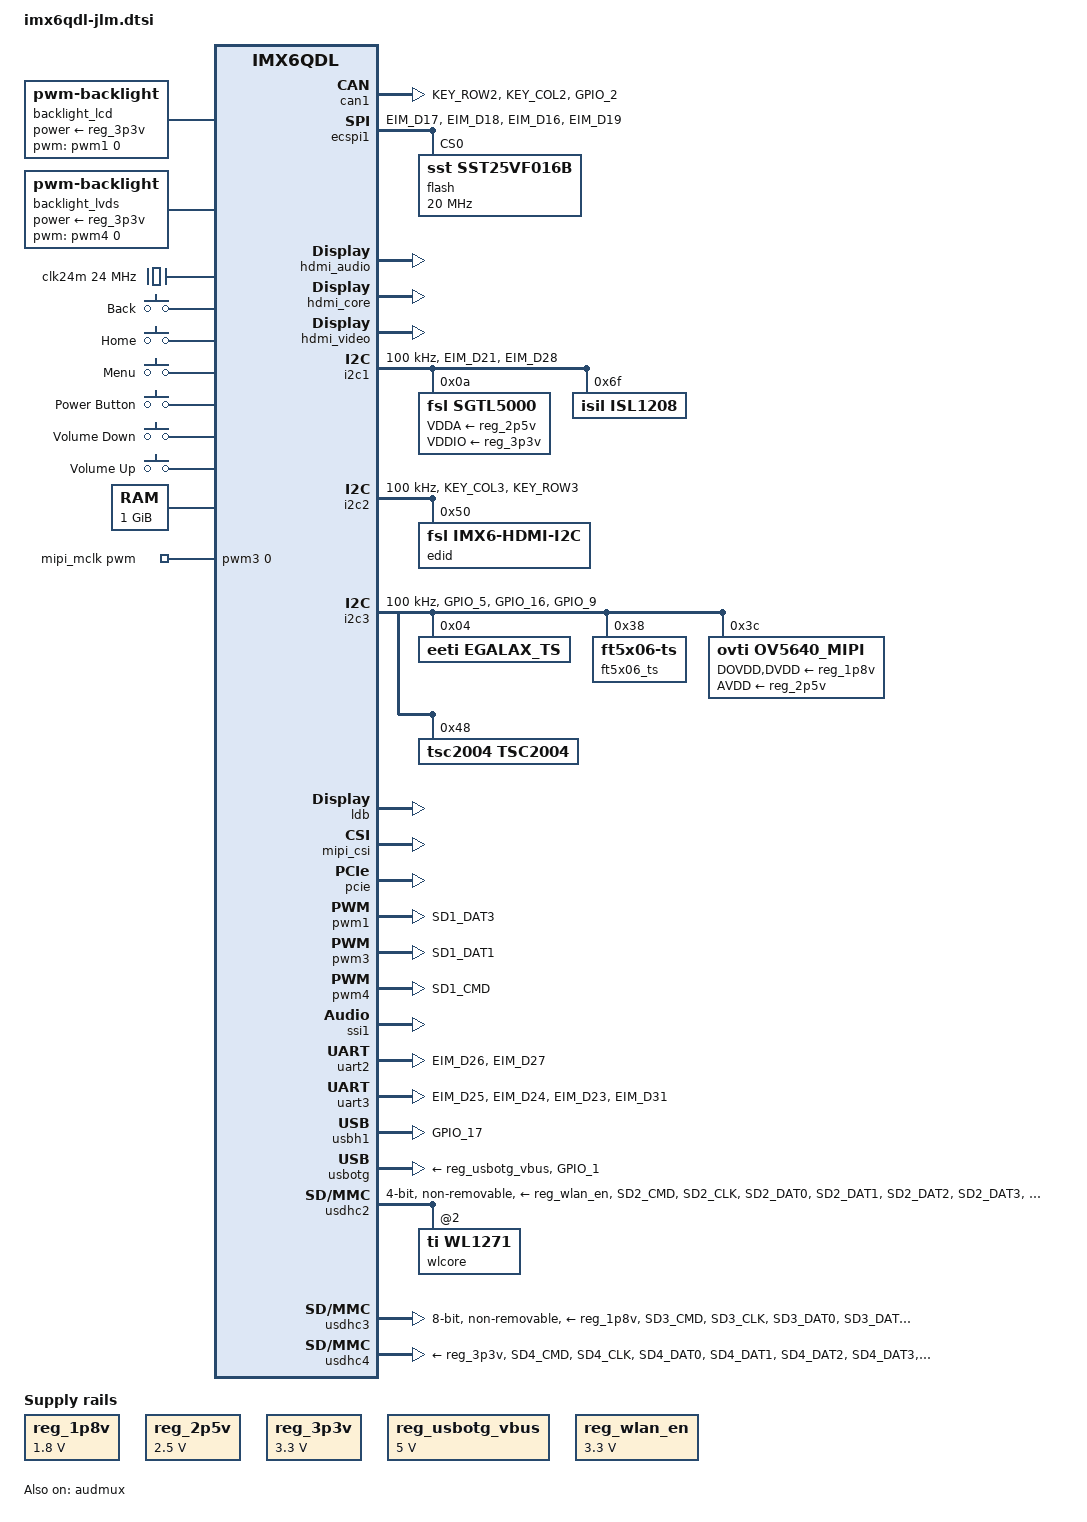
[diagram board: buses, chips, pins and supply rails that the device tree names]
/*
 * Copyright 2013-2016 Boundary Devices, Inc.
 * Copyright 2011-2015 Freescale Semiconductor, Inc.
 * Copyright 2011 Linaro Ltd.
 *
 * The code contained herein is licensed under the GNU General Public
 * License. You may obtain a copy of the GNU General Public License
 * Version 2 or later at the following locations:
 *
 * http://www.opensource.org/licenses/gpl-license.html
 * http://www.gnu.org/copyleft/gpl.html
 */
#include <dt-bindings/gpio/gpio.h>
#include <dt-bindings/input/input.h>

&iomuxc {
	pinctrl-names = "default";
	pinctrl-0 = <&pinctrl_hog>;

	iomuxc_imx6q_jlm: iomuxc-imx6q-jlmgrp {
		status = "okay";
	};
};

&iomuxc_imx6q_jlm {
	pinctrl_audmux: audmuxgrp {
		fsl,pins = <
			MX6QDL_PAD_CSI0_DAT7__AUD3_RXD		0x130b0
			MX6QDL_PAD_CSI0_DAT4__AUD3_TXC		0x130b0
			MX6QDL_PAD_CSI0_DAT5__AUD3_TXD		0x110b0
			MX6QDL_PAD_CSI0_DAT6__AUD3_TXFS		0x130b0
		>;
	};

	pinctrl_bt_rfkill: bt-rfkillgrp {
		fsl,pins = <
#define GP_BT_RFKILL_RESET	<&gpio6 16 GPIO_ACTIVE_LOW>
			MX6QDL_PAD_NANDF_CS3__GPIO6_IO16	0x000b0
		>;
	};

	pinctrl_ecspi1: ecspi1grp {
		fsl,pins = <
			MX6QDL_PAD_EIM_D17__ECSPI1_MISO		0x100b1
			MX6QDL_PAD_EIM_D18__ECSPI1_MOSI		0x100b1
			MX6QDL_PAD_EIM_D16__ECSPI1_SCLK		0x000b1
#define GP_ECSPI1_NOR_CS	<&gpio3 19 GPIO_ACTIVE_LOW>
			MX6QDL_PAD_EIM_D19__GPIO3_IO19		0x0b0b1
		>;
	};

	pinctrl_flexcan1: flexcan1grp {
		fsl,pins = <
			MX6QDL_PAD_KEY_ROW2__FLEXCAN1_RX	0x1b0b0
			MX6QDL_PAD_KEY_COL2__FLEXCAN1_TX	0x1b0b0
#define GP_FLEXCAN1_STANDBY	<&gpio1 2 GPIO_ACTIVE_HIGH>
			MX6QDL_PAD_GPIO_2__GPIO1_IO02		0x0b0b0
		>;
	};

	pinctrl_gpio_keys: gpio-keysgrp {
		fsl,pins = <
#define GP_GPIOKEY_POWER	<&gpio2 3 GPIO_ACTIVE_LOW>
			MX6QDL_PAD_NANDF_D3__GPIO2_IO03		0x1b0b0
#define GP_GPIOKEY_MENU		<&gpio2 1 GPIO_ACTIVE_LOW>
			MX6QDL_PAD_NANDF_D1__GPIO2_IO01		0x1b0b0
#define GP_GPIOKEY_HOME		<&gpio2 4 GPIO_ACTIVE_LOW>
			MX6QDL_PAD_NANDF_D4__GPIO2_IO04		0x1b0b0
#define GP_GPIOKEY_BACK		<&gpio2 2 GPIO_ACTIVE_LOW>
			MX6QDL_PAD_NANDF_D2__GPIO2_IO02		0x1b0b0
#define GP_GPIOKEY_VOL_UP	<&gpio7 13 GPIO_ACTIVE_LOW>
			MX6QDL_PAD_GPIO_18__GPIO7_IO13		0x1b0b0
#define GP_GPIOKEY_VOL_DN	<&gpio4 5 GPIO_ACTIVE_LOW>
			MX6QDL_PAD_GPIO_19__GPIO4_IO05		0x1b0b0
		>;
	};

	pinctrl_hog: hoggrp {
		fsl,pins = <
			MX6QDL_PAD_SD3_DAT4__GPIO7_IO01		0x1b0b0		/* Spare */
			MX6QDL_PAD_NANDF_D7__GPIO2_IO07		0x1b0b0		/* Spare */
			MX6QDL_PAD_GPIO_4__GPIO1_IO04		0x1b0b0		/* Spare */
		>;
	};

	pinctrl_i2c1: i2c1grp {
		fsl,pins = <
			MX6QDL_PAD_EIM_D21__I2C1_SCL		0x4001b8b1
			MX6QDL_PAD_EIM_D28__I2C1_SDA		0x4001b8b1
		>;
	};

	pinctrl_i2c1_isl1208: i2c1-isl1208grp {
		fsl,pins = <
#define GPIRQ_RTC_ISL1208	<&gpio6 7 IRQ_TYPE_EDGE_FALLING>
			MX6QDL_PAD_NANDF_CLE__GPIO6_IO07	0x1b0b0
		>;
	};

	pinctrl_i2c1_sgtl5000: i2c1-sgtl5000grp {
		fsl,pins = <
			MX6QDL_PAD_GPIO_0__CCM_CLKO1		0x000b0		/* sys_mclk */
		>;
	};

	pinctrl_i2c2: i2c2grp {
		fsl,pins = <
			MX6QDL_PAD_KEY_COL3__I2C2_SCL		0x4001b8b1
			MX6QDL_PAD_KEY_ROW3__I2C2_SDA		0x4001b8b1
		>;
	};

	pinctrl_i2c3_ov5640_mipi: i2c3-ov5640-mipigrp {
		fsl,pins = <
#define GP_OV5640_MIPI_POWER_DOWN	<&gpio6 9 GPIO_ACTIVE_HIGH>
			MX6QDL_PAD_NANDF_WP_B__GPIO6_IO09	0x0b0b0
#define GP_OV5640_MIPI_RESET		<&gpio2 5 GPIO_ACTIVE_LOW>
			MX6QDL_PAD_NANDF_D5__GPIO2_IO05		0x000b0
		>;
	};

	pinctrl_i2c3: i2c3grp {
		fsl,pins = <
			MX6QDL_PAD_GPIO_5__I2C3_SCL		0x4001b8b1
			MX6QDL_PAD_GPIO_16__I2C3_SDA		0x4001b8b1
#define GPIRQ_I2C3_J7	<&gpio1 9 IRQ_TYPE_EDGE_FALLING>
#define GP_I2C3_J7	<&gpio1 9 GPIO_ACTIVE_LOW>
			MX6QDL_PAD_GPIO_9__GPIO1_IO09		0x1b0b0		/* I2C3 J7 interrupt */
		>;
	};

	pinctrl_i2c3_tsc2004: i2c3-tsc2004grp {
		fsl,pins = <
#define GPIRQ_TSC2004		<&gpio4 20 IRQ_TYPE_EDGE_FALLING>
#define GP_TSC2004		<&gpio4 20 GPIO_ACTIVE_LOW>
			MX6QDL_PAD_DI0_PIN4__GPIO4_IO20		0x1b0b0		/* tsc2004 interrupt */
		>;
	};

	pinctrl_lcd0: lcd0grp {
		fsl,pins = <
			MX6QDL_PAD_DI0_DISP_CLK__IPU1_DI0_DISP_CLK	0x10
			MX6QDL_PAD_DI0_PIN15__IPU1_DI0_PIN15		0x10
			MX6QDL_PAD_DI0_PIN2__IPU1_DI0_PIN02		0x10
			MX6QDL_PAD_DI0_PIN3__IPU1_DI0_PIN03		0x10
			MX6QDL_PAD_DISP0_DAT0__IPU1_DISP0_DATA00	0x10
			MX6QDL_PAD_DISP0_DAT1__IPU1_DISP0_DATA01	0x10
			MX6QDL_PAD_DISP0_DAT2__IPU1_DISP0_DATA02	0x10
			MX6QDL_PAD_DISP0_DAT3__IPU1_DISP0_DATA03	0x10
			MX6QDL_PAD_DISP0_DAT4__IPU1_DISP0_DATA04	0x10
			MX6QDL_PAD_DISP0_DAT5__IPU1_DISP0_DATA05	0x10
			MX6QDL_PAD_DISP0_DAT6__IPU1_DISP0_DATA06	0x10
			MX6QDL_PAD_DISP0_DAT7__IPU1_DISP0_DATA07	0x10
			MX6QDL_PAD_DISP0_DAT8__IPU1_DISP0_DATA08	0x10
			MX6QDL_PAD_DISP0_DAT9__IPU1_DISP0_DATA09	0x10
			MX6QDL_PAD_DISP0_DAT10__IPU1_DISP0_DATA10	0x10
			MX6QDL_PAD_DISP0_DAT11__IPU1_DISP0_DATA11	0x10
			MX6QDL_PAD_DISP0_DAT12__IPU1_DISP0_DATA12	0x10
			MX6QDL_PAD_DISP0_DAT13__IPU1_DISP0_DATA13	0x10
			MX6QDL_PAD_DISP0_DAT14__IPU1_DISP0_DATA14	0x10
			MX6QDL_PAD_DISP0_DAT15__IPU1_DISP0_DATA15	0x10
			MX6QDL_PAD_DISP0_DAT16__IPU1_DISP0_DATA16	0x10
			MX6QDL_PAD_DISP0_DAT17__IPU1_DISP0_DATA17	0x10
			MX6QDL_PAD_DISP0_DAT18__IPU1_DISP0_DATA18	0x10
			MX6QDL_PAD_DISP0_DAT19__IPU1_DISP0_DATA19	0x10
			MX6QDL_PAD_DISP0_DAT20__IPU1_DISP0_DATA20	0x10
			MX6QDL_PAD_DISP0_DAT21__IPU1_DISP0_DATA21	0x10
			MX6QDL_PAD_DISP0_DAT22__IPU1_DISP0_DATA22	0x10
			MX6QDL_PAD_DISP0_DAT23__IPU1_DISP0_DATA23	0x10
		>;
	};

	pinctrl_pwm1: pwm1grp {
		fsl,pins = <
			MX6QDL_PAD_SD1_DAT3__PWM1_OUT		0x1b0b1
		>;
	};

	pinctrl_pwm3: pwm3grp {
		fsl,pins = <
			MX6QDL_PAD_SD1_DAT1__PWM3_OUT		0x1b0b1
		>;
	};

	pinctrl_pwm4: pwm4grp {
		fsl,pins = <
			MX6QDL_PAD_SD1_CMD__PWM4_OUT		0x1b0b1
		>;
	};

	pinctrl_reg_usbotg_vbus: reg-usbotg-vbusgrp {
		fsl,pins = <
#define GP_REG_USBOTG	<&gpio3 22 GPIO_ACTIVE_HIGH>
			MX6QDL_PAD_EIM_D22__GPIO3_IO22		0x030b0
		>;
	};

	pinctrl_reg_wlan_en: reg-wlan-engrp {
		fsl,pins = <
#define GP_REG_WLAN_EN	<&gpio6 15 GPIO_ACTIVE_HIGH>
			MX6QDL_PAD_NANDF_CS2__GPIO6_IO15	0x030b0
		>;
	};

	pinctrl_uart2: uart2grp {
		fsl,pins = <
			MX6QDL_PAD_EIM_D26__UART2_TX_DATA	0x1b0b1
			MX6QDL_PAD_EIM_D27__UART2_RX_DATA	0x1b0b1
		>;
	};

	pinctrl_uart3: uart3grp {
		fsl,pins = <
			MX6QDL_PAD_EIM_D25__UART3_RX_DATA	0x1b0b1
			MX6QDL_PAD_EIM_D24__UART3_TX_DATA	0x1b0b1
			MX6QDL_PAD_EIM_D23__UART3_CTS_B		0x1b0b1
			MX6QDL_PAD_EIM_D31__UART3_RTS_B		0x1b0b1
		>;
	};

	pinctrl_usbh1: usbh1grp {
		fsl,pins = <
#define GP_USBH1_HUB_RESET	<&gpio7 12 GPIO_ACTIVE_LOW>
			MX6QDL_PAD_GPIO_17__GPIO7_IO12		0x0b0b0
		>;
	};

	pinctrl_usbotg: usbotggrp {
		fsl,pins = <
			MX6QDL_PAD_GPIO_1__USB_OTG_ID		0x17059
		>;
	};

	pinctrl_usdhc2: usdhc2grp {
		fsl,pins = <
			MX6QDL_PAD_SD2_CMD__SD2_CMD		0x17071
			MX6QDL_PAD_SD2_CLK__SD2_CLK		0x10071
			MX6QDL_PAD_SD2_DAT0__SD2_DATA0		0x17071
			MX6QDL_PAD_SD2_DAT1__SD2_DATA1		0x17071
			MX6QDL_PAD_SD2_DAT2__SD2_DATA2		0x17071
			MX6QDL_PAD_SD2_DAT3__SD2_DATA3		0x17071
			MX6QDL_PAD_SD1_CLK__OSC32K_32K_OUT	0x000b0		/* slow clock */
#define GPIRQ_WL1271	<&gpio6 14 IRQ_TYPE_LEVEL_HIGH>
			MX6QDL_PAD_NANDF_CS1__GPIO6_IO14	0x100b0
		>;
	};

	pinctrl_usdhc3: usdhc3grp {
		fsl,pins = <
			MX6QDL_PAD_SD3_CMD__SD3_CMD		0x17071
			MX6QDL_PAD_SD3_CLK__SD3_CLK		0x10071
			MX6QDL_PAD_SD3_DAT0__SD3_DATA0		0x17071
			MX6QDL_PAD_SD3_DAT1__SD3_DATA1		0x17071
			MX6QDL_PAD_SD3_DAT2__SD3_DATA2		0x17071
			MX6QDL_PAD_SD3_DAT3__SD3_DATA3		0x17071
			MX6QDL_PAD_SD3_DAT4__SD3_DATA4		0x17071
			MX6QDL_PAD_SD3_DAT5__SD3_DATA5		0x17071
			MX6QDL_PAD_SD3_DAT6__SD3_DATA6		0x17071
			MX6QDL_PAD_SD3_DAT7__SD3_DATA7		0x17071
#define GP_EMMC_RESET	<&gpio2 23 GPIO_ACTIVE_LOW>
			MX6QDL_PAD_EIM_CS0__GPIO2_IO23		0x1b0b0
		>;
	};

	pinctrl_usdhc4: usdhc4grp {
		fsl,pins = <
			MX6QDL_PAD_SD4_CMD__SD4_CMD		0x17059
			MX6QDL_PAD_SD4_CLK__SD4_CLK		0x10059
			MX6QDL_PAD_SD4_DAT0__SD4_DATA0		0x17059
			MX6QDL_PAD_SD4_DAT1__SD4_DATA1		0x17059
			MX6QDL_PAD_SD4_DAT2__SD4_DATA2		0x17059
			MX6QDL_PAD_SD4_DAT3__SD4_DATA3		0x17059
#define GP_USDHC4_CD	<&gpio2 6 GPIO_ACTIVE_LOW>
			MX6QDL_PAD_NANDF_D6__GPIO2_IO06		0x1b0b0
		>;
	};
};

/ {
	aliases {
		backlight_lcd = &backlight_lcd;
		backlight_lvds = &backlight_lvds;
		fb_hdmi = &fb_hdmi;
		fb_lcd = &fb_lcd;
		fb_lvds = &fb_lvds;
		lcd = &lcd;
		ldb = &ldb;
		mmc0 = &usdhc4;
		mmc1 = &usdhc3;
		mmc2 = &usdhc2;
		mxcfb0 = &fb_hdmi;
		mxcfb1 = &fb_lvds;
		mxcfb2 = &fb_lcd;
		pwm_lcd = &pwm1;
		pwm_lvds = &pwm4;
		t_lvds = &t_lvds;
	};

	backlight_lcd: backlight_lcd {
		brightness-levels = <0 1 2 3 4 5 6 7 8 9 10>;
		compatible = "pwm-backlight";
		default-brightness-level = <8>;
		display = <&fb_lcd>;
		power-supply = <&reg_3p3v>;
		pwms = <&pwm1 0 5000000>;
		status = "okay";
	};

	backlight_lvds: backlight_lvds {
		brightness-levels = <0 1 2 3 4 5 6 7 8 9 10>;
		compatible = "pwm-backlight";
		default-brightness-level = <8>;
		display = <&fb_lvds>;
		power-supply = <&reg_3p3v>;
		pwms = <&pwm4 0 5000000>;
		status = "okay";
	};

	bt_rfkill {
		compatible = "net,rfkill-gpio";
		pinctrl-names = "default";
		pinctrl-0 = <&pinctrl_bt_rfkill>;
		name = "bt_rfkill";
		type = <2>;     /* bluetooth */
		reset-gpios = GP_BT_RFKILL_RESET;
	};

	chosen {
		stdout-path = &uart2;
	};

	clocks {
		clk24m: clk24m {
			compatible = "fixed-clock";
			#clock-cells = <0>;
			clock-frequency = <24000000>;
		};
	};

	fb_hdmi: fb@0 {
		compatible = "fsl,mxc_sdc_fb";
		disp_dev = "hdmi";
		interface_pix_fmt = "RGB24";
		mode_str ="1280x720M@60";
		default_bpp = <32>;
		int_clk = <0>;
		late_init = <0>;
		status = "okay";
	};

	fb_lvds: fb@1 {
		compatible = "fsl,mxc_sdc_fb";
		disp_dev = "ldb";
		interface_pix_fmt = "RGB666";
		default_bpp = <16>;
		int_clk = <0>;
		late_init = <0>;
		status = "disabled";
	};

	fb_lcd: fb@2 {
		compatible = "fsl,mxc_sdc_fb";
		disp_dev = "lcd";
		interface_pix_fmt = "RGB666";
		default_bpp = <16>;
		int_clk = <0>;
		late_init = <0>;
		status = "disabled";
	};

	gpio-keys {
		compatible = "gpio-keys";
		pinctrl-names = "default";
		pinctrl-0 = <&pinctrl_gpio_keys>;

		back {
			label = "Back";
			gpios = GP_GPIOKEY_BACK;
			linux,code = <KEY_BACK>;
		};

		home {
			label = "Home";
			gpios = GP_GPIOKEY_HOME;
			linux,code = <KEY_HOMEPAGE>;
		};

		menu {
			label = "Menu";
			gpios = GP_GPIOKEY_MENU;
			linux,code = <KEY_MENU>;
		};

		power {
			label = "Power Button";
			gpios = GP_GPIOKEY_POWER;
			linux,code = <KEY_POWER>;
			gpio-key,wakeup;
		};

		volume-down {
			label = "Volume Down";
			gpios = GP_GPIOKEY_VOL_DN;
			linux,code = <KEY_VOLUMEDOWN>;
		};

		volume-up {
			label = "Volume Up";
			gpios = GP_GPIOKEY_VOL_UP;
			linux,code = <KEY_VOLUMEUP>;
		};
	};

	lcd: lcd@0 {
		compatible = "fsl,lcd";
		ipu_id = <0>;
		disp_id = <0>;
		default_ifmt = "RGB666";
		pinctrl-names = "default";
		pinctrl-0 = <&pinctrl_lcd0>;
		status = "okay";
	};

	memory {
		reg = <0x10000000 0x40000000>;
	};

	mipi_mclk: mipi_mclk {
		compatible = "pwm-clock";
		#clock-cells = <0>;
		clock-frequency = <22000000>;
		clock-output-names = "mipi_mclk";
		pwms = <&pwm3 0 45>; /* 1 / 45 ns = 22 MHz */
	};

	regulators {
		compatible = "simple-bus";
		#address-cells = <1>;
		#size-cells = <0>;

		reg_1p8v: regulator@0 {
			compatible = "regulator-fixed";
			reg = <0>;
			regulator-name = "1P8V";
			regulator-min-microvolt = <1800000>;
			regulator-max-microvolt = <1800000>;
			regulator-always-on;
		};

		reg_2p5v: regulator@1 {
			compatible = "regulator-fixed";
			reg = <1>;
			regulator-name = "2P5V";
			regulator-min-microvolt = <2500000>;
			regulator-max-microvolt = <2500000>;
			regulator-always-on;
		};

		reg_3p3v: regulator@2 {
			compatible = "regulator-fixed";
			reg = <2>;
			regulator-name = "3P3V";
			regulator-min-microvolt = <3300000>;
			regulator-max-microvolt = <3300000>;
			regulator-always-on;
		};

		reg_usbotg_vbus: regulator@3 {
			compatible = "regulator-fixed";
			reg = <3>;
			pinctrl-names = "default";
			pinctrl-0 = <&pinctrl_reg_usbotg_vbus>;
			regulator-name = "usb_otg_vbus";
			regulator-min-microvolt = <5000000>;
			regulator-max-microvolt = <5000000>;
			gpio = GP_REG_USBOTG;
			enable-active-high;
		};

		reg_wlan_en: regulator@4 {
			compatible = "regulator-fixed";
			reg = <4>;
			pinctrl-names = "default";
			pinctrl-0 = <&pinctrl_reg_wlan_en>;
			regulator-name = "wlan-en";
			regulator-min-microvolt = <3300000>;
			regulator-max-microvolt = <3300000>;
			gpio = GP_REG_WLAN_EN;
			startup-delay-us = <70000>;
			enable-active-high;
		};
	};

	sound {
		compatible = "fsl,imx6q-jlm-sgtl5000",
			     "fsl,imx-audio-sgtl5000";
		model = "imx6q-jlm-sgtl5000";
		ssi-controller = <&ssi1>;
		audio-codec = <&sgtl5000>;
		audio-routing =
			"MIC_IN", "Mic Jack",
			"Mic Jack", "Mic Bias",
			"Headphone Jack", "HP_OUT";
		mux-int-port = <1>;
		mux-ext-port = <3>;
	};

	sound-hdmi {
		compatible = "fsl,imx6q-audio-hdmi",
			     "fsl,imx-audio-hdmi";
		model = "imx-audio-hdmi";
		hdmi-controller = <&hdmi_audio>;
	};

	v4l2_cap_0: v4l2_cap_0 {
		compatible = "fsl,imx6q-v4l2-capture";
		ipu_id = <0>;
		csi_id = <0>;
		mipi_camera = <1>;
		mclk_source = <0>;
		status = "okay";
	};

	v4l2_out {
		compatible = "fsl,mxc_v4l2_output";
		status = "okay";
	};
};

&audmux {
	pinctrl-names = "default";
	pinctrl-0 = <&pinctrl_audmux>;
	status = "okay";
};

&can1 {
	pinctrl-names = "default";
	pinctrl-0 = <&pinctrl_flexcan1>;
	trx-stby-gpio = GP_FLEXCAN1_STANDBY;
	status = "okay";
};

&ecspi1 {
	fsl,spi-num-chipselects = <1>;
	cs-gpios = GP_ECSPI1_NOR_CS;
	pinctrl-names = "default";
	pinctrl-0 = <&pinctrl_ecspi1>;
	status = "okay";

	flash: m25p80@0 {
		compatible = "sst,sst25vf016b";
		spi-max-frequency = <20000000>;
		reg = <0>;
		#address-cells = <1>;
		#size-cells = <1>;
		mtd@00000000 {
			label = "U-Boot";
			reg = <0x0 0xC0000>;
		};

		mtd@000C0000 {
			label = "env";
			reg = <0xC0000 0x2000>;
		};
		mtd@000C2000 {
			label = "splash";
			reg = <0xC2000 0x13e000>;
		};
	};
};

&hdmi_audio {
	status = "okay";
};

&hdmi_core {
	ipu_id = <0>;
	disp_id = <0>;
	status = "okay";
};

&hdmi_video {
	fsl,phy_reg_vlev = <0x0294>;
	fsl,phy_reg_cksymtx = <0x800d>;
	status = "okay";
};

&i2c1 {
	clock-frequency = <100000>;
	pinctrl-names = "default";
	pinctrl-0 = <&pinctrl_i2c1>;
	status = "okay";

	sgtl5000: sgtl5000@0a {
		compatible = "fsl,sgtl5000";
		pinctrl-names = "default";
		pinctrl-0 = <&pinctrl_i2c1_sgtl5000>;
		reg = <0x0a>;
		clocks = <&clks IMX6QDL_CLK_CKO>;
		VDDA-supply = <&reg_2p5v>;
		VDDIO-supply = <&reg_3p3v>;
	};
	isl1208@6f {
		compatible = "isil,isl1208";
		pinctrl-names = "default";
		pinctrl-0 = <&pinctrl_i2c1_isl1208>;
		reg = <0x6f>;
		interrupts-extended = GPIRQ_RTC_ISL1208;
	};
};

&i2c2 {
	clock-frequency = <100000>;
	pinctrl-names = "default";
	pinctrl-0 = <&pinctrl_i2c2>;
	status = "okay";

	edid@50 {
		compatible = "fsl,imx6-hdmi-i2c";
		reg = <0x50>;
	};

};

&i2c3 {
	clock-frequency = <100000>;
	pinctrl-names = "default";
	pinctrl-0 = <&pinctrl_i2c3>;
	status = "okay";

	egalax_ts@04 {
		compatible = "eeti,egalax_ts";
		reg = <0x04>;
		interrupts-extended = GPIRQ_I2C3_J7;
		wakeup-gpios = GP_I2C3_J7;
	};

	ft5x06_ts@38 {
		compatible = "ft5x06-ts";
		reg = <0x38>;
		interrupts-extended = GPIRQ_I2C3_J7;
		wakeup-gpios = GP_I2C3_J7;
	};

	ov5640_mipi: ov5640_mipi@3c {
		compatible = "ovti,ov5640_mipi";
		reg = <0x3c>;
		pinctrl-names = "default";
		pinctrl-0 = <&pinctrl_i2c3_ov5640_mipi>;
		clocks = <&mipi_mclk>;
		clock-names = "csi_mclk";
		DOVDD-supply = <&reg_1p8v>;
		AVDD-supply = <&reg_2p5v>;
		DVDD-supply = <&reg_1p8v>;
		pwn-gpios = GP_OV5640_MIPI_POWER_DOWN;
		rst-gpios = GP_OV5640_MIPI_RESET;
		ipu_id = <0>;
		csi_id = <0>;
		mclk = <22000000>;
		mclk_source = <0>;
	};

	tsc2004: tsc2004@48 {
		compatible = "tsc2004,tsc2004";
		reg = <0x48>;
		pinctrl-names = "default";
		pinctrl-0 = <&pinctrl_i2c3_tsc2004>;
		interrupts-extended = GPIRQ_TSC2004;
		wakeup-gpios = GP_TSC2004;
	};
};

&ldb {
	status = "okay";

	lvds-channel@0 {
		crtc = "ipu1-di1";
		fsl,data-mapping = "spwg";
		fsl,data-width = <18>;
		status = "okay";
		primary;

		display-timings {
			t_lvds: t_lvds_default {
				/* lg1280x800 values may be changed in bootscript */
				clock-frequency = <72000000>;
				hactive = <1280>;
				vactive = <800>;
				hback-porch = <48>;
				hfront-porch = <80>;
				vback-porch = <15>;
				vfront-porch = <2>;
				hsync-len = <32>;
				vsync-len = <6>;
			};
			okaya1024x600: okaya7x0WP {
				clock-frequency = <52000000>;
				hactive = <1024>;
				vactive = <600>;
				hback-porch = <220>;
				hfront-porch = <40>;
				vback-porch = <7>;
				vfront-porch = <21>;
				hsync-len = <60>;
				vsync-len = <10>;
			};
			hannstar: hsd100pxn1 {
				clock-frequency = <65000000>;
				hactive = <1024>;
				vactive = <768>;
				hback-porch = <220>;
				hfront-porch = <40>;
				vback-porch = <21>;
				vfront-porch = <7>;
				hsync-len = <60>;
				vsync-len = <10>;
			};
			AA065VE11: AA065VE11 {
				clock-frequency = <43748359>;
				hactive = <640>;
				vactive = <480>;
				hback-porch = <148>;
				hfront-porch = <116>;
				vback-porch = <83>;
				vfront-porch = <60>;
				hsync-len = <96>;
				vsync-len = <2>;
			};
			vga_lvds: vga {
				clock-frequency = <25175000>;
				hactive = <640>;
				vactive = <480>;
				hback-porch = <48>;
				hfront-porch = <16>;
				vback-porch = <33>;
				vfront-porch = <10>;
				hsync-len = <96>;
				vsync-len = <2>;
			};
		};
	};
};

&mipi_csi {
	lanes = <2>;
	status = "okay";
};

&pcie {
	status = "okay";
};

&pwm1 {
	pinctrl-names = "default";
	pinctrl-0 = <&pinctrl_pwm1>;
	status = "okay";
};

&pwm3 {
	pinctrl-names = "default";
	pinctrl-0 = <&pinctrl_pwm3>;
	status = "okay";
};

&pwm4 {
	pinctrl-names = "default";
	pinctrl-0 = <&pinctrl_pwm4>;
	status = "okay";
};

&ssi1 {
	fsl,mode = "i2s-slave";
	status = "okay";
};

&uart2 {
	pinctrl-names = "default";
	pinctrl-0 = <&pinctrl_uart2>;
	status = "okay";
};

&uart3 {
	pinctrl-names = "default";
	pinctrl-0 = <&pinctrl_uart3>;
	fsl,uart-has-rtscts;
	status = "okay";
};

&usbh1 {
	pinctrl-names = "default";
	pinctrl-0 = <&pinctrl_usbh1>;
	disable-over-current;
	reset-gpios = GP_USBH1_HUB_RESET;
	status = "okay";
};

&usbotg {
	vbus-supply = <&reg_usbotg_vbus>;
	pinctrl-names = "default";
	pinctrl-0 = <&pinctrl_usbotg>;
	disable-over-current;
	status = "okay";
};

&usdhc2 {	/* uSDHC2, TiWi wl1271 */
	pinctrl-names = "default";
	pinctrl-0 = <&pinctrl_usdhc2>;
	bus-width = <4>;
	non-removable;
	vmmc-supply = <&reg_wlan_en>;
	vqmmc-1-8-v;
	cap-power-off-card;
	keep-power-in-suspend;
	status = "okay";

	#address-cells = <1>;
	#size-cells = <0>;
	wlcore: wlcore@2 {
		compatible = "ti,wl1271";
		interrupts-extended = GPIRQ_WL1271;
		reg = <2>;
		ref-clock-frequency = <38400000>;
	};
};

&usdhc3 {
	pinctrl-names = "default";
	pinctrl-0 = <&pinctrl_usdhc3>;
	bus-width = <8>;
	non-removable;
	vqmmc-1-8-v;
	vmmc-supply = <&reg_1p8v>;
	keep-power-in-suspend;
	status = "okay";
};

&usdhc4 {
	pinctrl-names = "default";
	pinctrl-0 = <&pinctrl_usdhc4>;
	cd-gpios = GP_USDHC4_CD;
	vmmc-supply = <&reg_3p3v>;
	status = "okay";
};
